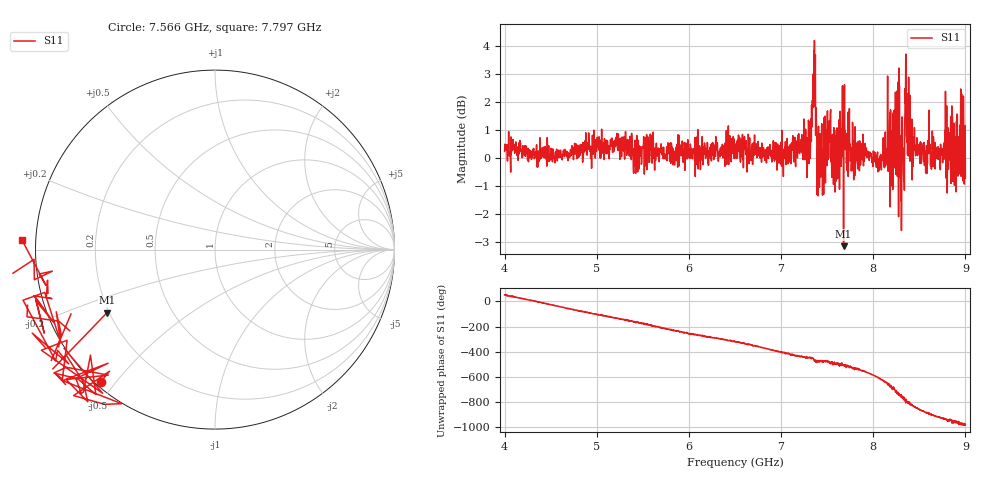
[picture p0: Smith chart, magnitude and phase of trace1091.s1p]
! Created with skrf 1.8.0 (http://scikit-rf.org).
# Hz S RI R 50.0
!freq ReS11 ImS11
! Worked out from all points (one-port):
!   1601 points, 4 GHz to 9 GHz, reference 50 ohm
!   lowest |S11| = -3.1 dB at 7.678 GHz (marker M1), VSWR 5.59, Z = 9.58 - j13.1 ohm
!   |S11| at or under -10 dB: nowhere
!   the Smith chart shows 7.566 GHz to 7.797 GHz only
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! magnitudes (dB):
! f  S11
! 4 GHz  0.2
! 4.625 GHz  -0.1
! 5.25 GHz  -0.1
! 5.875 GHz  0.0
! 6.5 GHz  0.1
! 7.038 GHz  0.0
! 7.125 GHz  0.6
! 7.297 GHz  1.3
! 7.356 GHz  3.8
! 7.412 GHz  0.6
! 7.512 GHz  1.0
! 7.572 GHz  1.1
! 7.65 GHz  0.9
! 7.678 GHz  -3.1
! 7.75 GHz  0.3
! 8.075 GHz  0.0
! 8.156 GHz  2.9
! 8.209 GHz  1.0
! 8.262 GHz  -0.7
! 8.303 GHz  0.8
! 8.312 GHz  1.5
! 8.334 GHz  -0.2
! 8.366 GHz  0.6
! 8.375 GHz  0.8
! 8.447 GHz  1.1
! 8.731 GHz  0.5
! 8.972 GHz  0.7
! 9 GHz  -0.7
